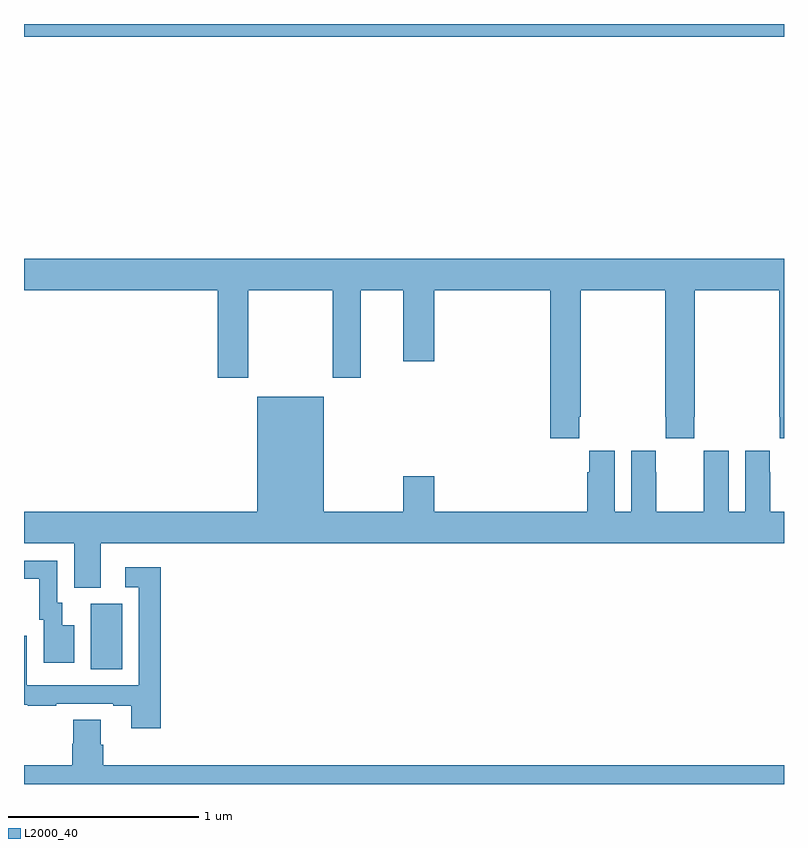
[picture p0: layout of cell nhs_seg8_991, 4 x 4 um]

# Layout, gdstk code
import gdstk
lib = gdstk.Library(unit=1e-6, precision=1e-09)
def R(c, l, rs):  # rectangles x0, y0, x1, y1
    for r in rs: c.add(gdstk.rectangle(r[:2], r[2:], *l))
def P(c, l, *ps):  # polygons
    for p in ps: c.add(gdstk.Polygon(p, *l))
L2000_40 = (2000, 40)

nhs_seg8_991 = lib.new_cell('nhs_seg8_991')
R(nhs_seg8_991, L2000_40, [(175.352,1114.504,175.516,1114.848), (175,1117.832,179,1117.9)])
P(nhs_seg8_991, L2000_40, [(177.923,1115.833),(177.93,1115.833),(177.93,1116.5),(178.375,1116.5),(178.375,1115.833),(178.377,1115.833),(178.377,1115.721),(178.527,1115.721),(178.527,1115.833),(178.53,1115.833),(178.53,1116.5),(178.975,1116.5),(178.975,1115.833),(178.977,1115.833),(178.977,1115.721),(179,1115.721),(179,1116.664),(175,1116.664),(175,1116.5),(176.021,1116.5),(176.021,1116.039),(176.181,1116.039),(176.181,1116.5),(176.626,1116.5),(176.626,1116.039),(176.773,1116.039),(176.773,1116.5),(176.996,1116.5),(176.996,1116.126),(177.16,1116.126),(177.16,1116.5),(177.77,1116.5),(177.77,1115.721),(177.923,1115.721)],
  [(175,1115.168),(175.265,1115.168),(175.265,1114.933),(175.405,1114.933),(175.405,1115.168),(179,1115.168),(179,1115.332),(178.927,1115.332),(178.927,1115.54),(178.926,1115.54),(178.926,1115.653),(178.796,1115.653),(178.796,1115.332),(178.708,1115.332),(178.708,1115.653),(178.578,1115.653),(178.578,1115.54),(178.577,1115.54),(178.577,1115.332),(178.327,1115.332),(178.327,1115.54),(178.326,1115.54),(178.326,1115.653),(178.196,1115.653),(178.196,1115.332),(178.108,1115.332),(178.108,1115.653),(177.974,1115.653),(177.974,1115.54),(177.965,1115.54),(177.965,1115.332),(177.16,1115.332),(177.16,1115.521),(176.996,1115.521),(176.996,1115.332),(176.578,1115.332),(176.578,1115.938),(176.228,1115.938),(176.228,1115.332),(175,1115.332)],
  [(175.264,1114.735),(175.201,1114.735),(175.201,1114.854),(175.176,1114.854),(175.176,1115.076),(175,1115.076),(175,1114.98),(175.079,1114.98),(175.079,1114.764),(175.103,1114.764),(175.103,1114.539),(175.264,1114.539)],
  [(175.721,1115.041),(175.533,1115.041),(175.533,1114.935),(175.605,1114.935),(175.605,1114.419),(175.014,1114.419),(175.014,1114.681),(175,1114.681),(175,1114.317),(175.021,1114.317),(175.021,1114.311),(175.169,1114.311),(175.169,1114.323),(175.469,1114.323),(175.469,1114.311),(175.565,1114.311),(175.565,1114.194),(175.721,1114.194)],
  [(175.418,1114.106),(175.405,1114.106),(175.405,1114.238),(175.258,1114.238),(175.258,1114.113),(175.253,1114.113),(175.253,1114),(175,1114),(175,1113.9),(179,1113.9),(179,1114),(175.418,1114)])

lib.write_gds('nhs_seg8_991.gds')
